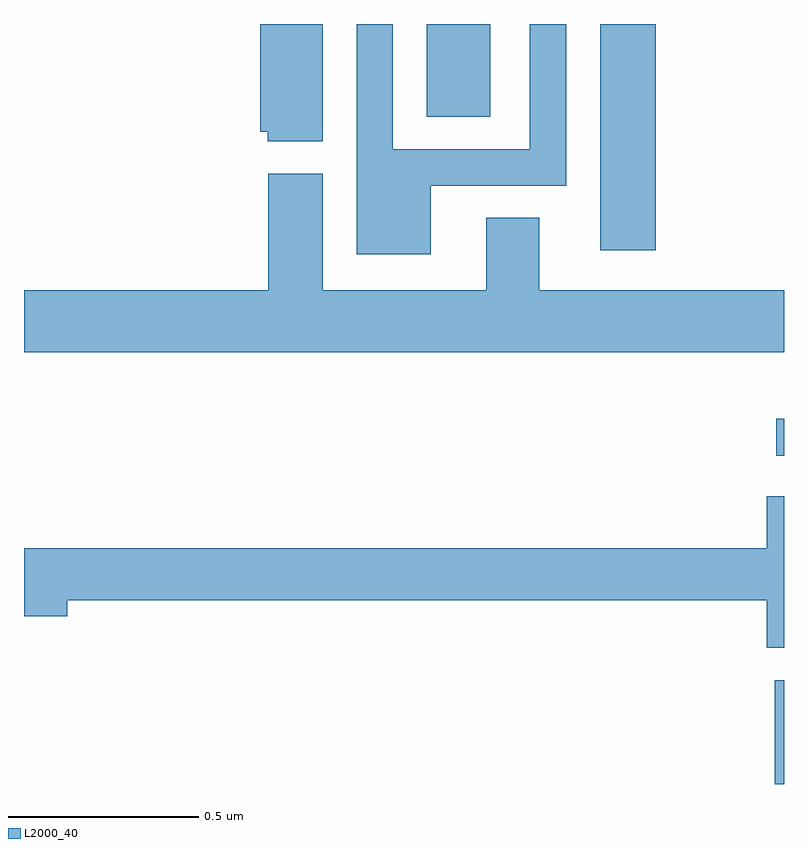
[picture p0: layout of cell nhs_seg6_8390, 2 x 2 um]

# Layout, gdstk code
import gdstk
lib = gdstk.Library(unit=1e-6, precision=1e-09)
def R(c, l, rs):  # rectangles x0, y0, x1, y1
    for r in rs: c.add(gdstk.rectangle(r[:2], r[2:], *l))
def P(c, l, *ps):  # polygons
    for p in ps: c.add(gdstk.Polygon(p, *l))
L2000_40 = (2000, 40)

nhs_seg6_8390 = lib.new_cell('nhs_seg6_8390')
R(nhs_seg6_8390, L2000_40, [(221.975,979.5,222,979.773), (221.979,980.364,222,980.461), (221.516,980.904,221.663,981.5), (221.06,981.256,221.227,981.5)])
P(nhs_seg6_8390, L2000_40, [(220.786,981.5),(220.622,981.5),(220.622,981.216),(220.641,981.216),(220.641,981.191),(220.786,981.191)],
  [(221.071,981.075),(221.427,981.075),(221.427,981.5),(221.331,981.5),(221.331,981.171),(220.971,981.171),(220.971,981.5),(220.875,981.5),(220.875,980.894),(221.071,980.894)],
  [(222,980.8),(221.356,980.8),(221.356,980.99),(221.216,980.99),(221.216,980.8),(220.786,980.8),(220.786,981.106),(220.643,981.106),(220.643,980.8),(220,980.8),(220,980.636),(222,980.636)],
  [(222,980.257),(221.954,980.257),(221.954,980.12),(220,980.12),(220,979.942),(220.114,979.942),(220.114,979.984),(221.954,979.984),(221.954,979.858),(222,979.858)])

lib.write_gds('nhs_seg6_8390.gds')
